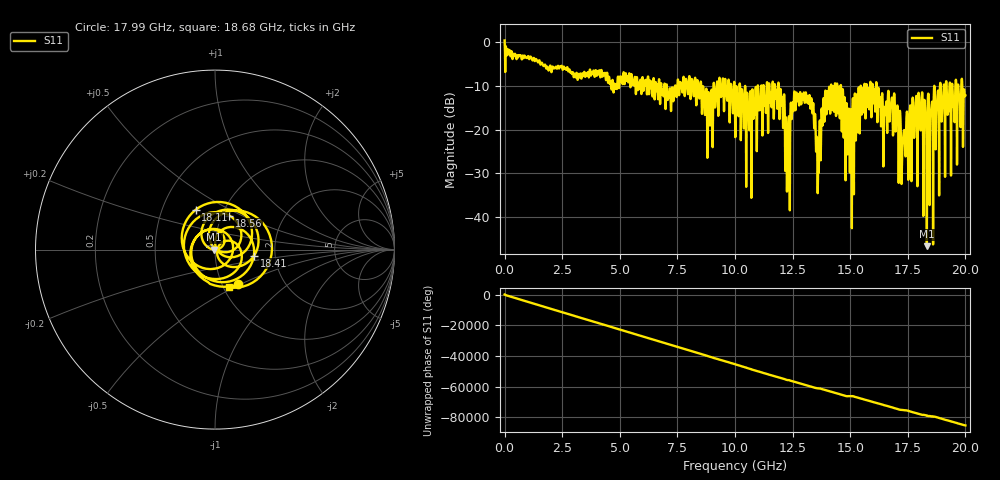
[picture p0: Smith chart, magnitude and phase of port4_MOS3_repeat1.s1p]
! MS46122B
! 2250307/22442219
! 7/22/2025 3:26:04 PM
! C:\USERS\SPARKY\DOCUMENTS\VNA_DATA\JULY22_2025\295\PORT4_MOS3_REPEAT1.S1P
! CHANNEL.1
! TR.MEASUREMENT
! RAW.DATA
# GHZ S RI R 50.0
! FREQ.GHZ  S11RE  S11IM
!; PortSelection: Port_1
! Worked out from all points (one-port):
!   10001 points, 1 MHz to 20 GHz, reference 50 ohm
!   lowest |S11| = -46.6 dB at 18.33 GHz (marker M1), VSWR 1.01, Z = 49.5 - j0.0377 ohm
!   |S11| at or under -10 dB: 11.9 GHz to 14.17 GHz (2.265 GHz wide, 17.4 % of centre); 14.6 GHz to 15.45 GHz (852.6 MHz wide, 5.67 % of centre); 16.15 GHz to 18.65 GHz (2.501 GHz wide, 14.4 % of centre) (the widest 3 of 69)
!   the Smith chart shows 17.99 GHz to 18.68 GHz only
!   S11 on the Smith chart (normalised r, x): 17.99 GHz: 1.19, -0.48; 18.11 GHz: 0.74, +0.35; 18.41 GHz: 1.55, -0.11; 18.56 GHz: 1.08, +0.43; 18.68 GHz: 1.06, -0.47
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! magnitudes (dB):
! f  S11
! 1 MHz  0.4
! 2.501 GHz  -5.8
! 5.001 GHz  -8.1
! 7.501 GHz  -9.5
! 8.869 GHz  -12.7
! 9.399 GHz  -12.5
! 10 GHz  -15.1
! 10.64 GHz  -15.2
! 11.81 GHz  -11.1
! 12.06 GHz  -13.2
! 12.28 GHz  -25.5
! 12.5 GHz  -13.8
! 13.24 GHz  -12.2
! 13.62 GHz  -28.5
! 13.84 GHz  -12.8
! 14.09 GHz  -10.3
! 15 GHz  -21.6
! 16.05 GHz  -10.8
! 16.98 GHz  -19.4
! 17.31 GHz  -21.4
! 17.5 GHz  -21.2
! 17.99 GHz  -12.7
! 18.11 GHz  -12.2
! 18.33 GHz  -46.6
! 18.41 GHz  -13.1
! 18.56 GHz  -13.7
! 18.68 GHz  -13.0
! 20 GHz  -12.1
